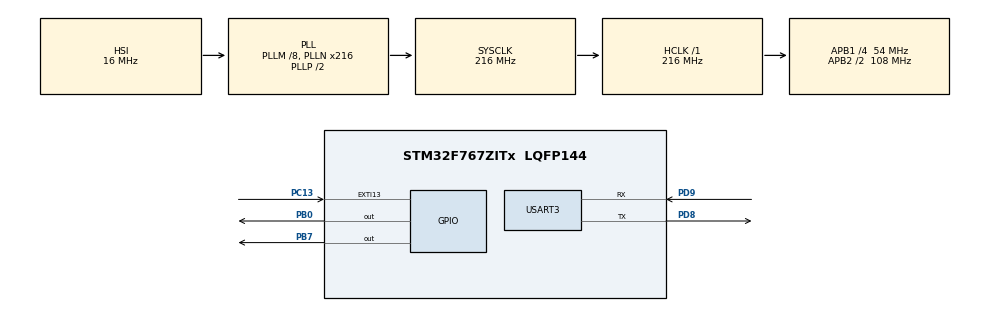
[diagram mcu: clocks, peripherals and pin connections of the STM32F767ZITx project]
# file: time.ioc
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CORTEX_M7.default_mode_Activation=1
Mcu.Family=STM32F7
Mcu.Name=STM32F767ZITx
Mcu.Package=LQFP144
NVIC.EXTI15_10_IRQn=true\:3\:0\:true\:false\:true\:true\:true\:true
NVIC.PriorityGroup=NVIC_PRIORITYGROUP_2
NVIC.TIM1_UP_TIM10_IRQn=true\:1\:0\:true\:false\:true\:true\:true\:true
NVIC.TIM2_IRQn=true\:2\:0\:true\:false\:true\:true\:true\:true
PB0.Signal=GPIO_Output
PB7.Signal=GPIO_Output
PC13.Signal=GPXTI13
PD8.Mode=Asynchronous
PD8.Signal=USART3_TX
PD9.Mode=Asynchronous
PD9.Signal=USART3_RX
ProjectManager.HeapSize=0x200
ProjectManager.StackSize=0x400
ProjectManager.TargetToolchain=STM32CubeIDE
RCC.AHBFreq_Value=216000000
RCC.APB1CLKDivider=RCC_HCLK_DIV4
RCC.APB1Freq_Value=54000000
RCC.APB1TimFreq_Value=108000000
RCC.APB2CLKDivider=RCC_HCLK_DIV2
RCC.APB2Freq_Value=108000000
RCC.APB2TimFreq_Value=216000000
RCC.CortexFreq_Value=216000000
RCC.HCLKFreq_Value=216000000
RCC.HSE_VALUE=25000000
RCC.HSI_VALUE=16000000
RCC.LSE_VALUE=32768
RCC.PLLM=8
RCC.PLLN=216
RCC.SYSCLKFreq_VALUE=216000000
RCC.SYSCLKSource=RCC_SYSCLKSOURCE_PLLCLK
RCC.USBFreq_Value=216000000
RCC.VCOOutputFreq_Value=432000000
TIM1.Period=10000-1
TIM1.Prescaler=21600-1
TIM2.Period=100000-1
TIM2.Prescaler=1080-1
USART3.VirtualMode-Asynchronous=VM_ASYNC
VP_TIM1_VS_ClockSourceINT.Mode=Internal
VP_TIM2_VS_ClockSourceINT.Mode=Internal
board=custom

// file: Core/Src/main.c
/* USER CODE BEGIN Header */
/**
  ******************************************************************************
  * @file           : main.c
  * @brief          : Main program body
  ******************************************************************************
  * @attention
  *
  * Copyright (c) 2025 STMicroelectronics.
  * All rights reserved.
  *
  * This software is licensed under terms that can be found in the LICENSE file
  * in the root directory of this software component.
  * If no LICENSE file comes with this software, it is provided AS-IS.
  *
  ******************************************************************************
  */
/* USER CODE END Header */
#include "main.h"

/* USER CODE BEGIN Includes */
#include "stdbool.h"
#include "stdio.h"
#include "string.h"
/* USER CODE END Includes */

/* USER CODE BEGIN PD */
int count=0;
int d_count =0;
int num = 3001;
bool flag = false;
int btn_bool = 0;
char buffer[20];
int n = 1;
/* USER CODE END PD */

TIM_HandleTypeDef htim1;
TIM_HandleTypeDef htim2;

UART_HandleTypeDef huart3;

void SystemClock_Config(void);
static void MPU_Config(void);
static void MX_GPIO_Init(void);
static void MX_TIM2_Init(void);
static void MX_TIM1_Init(void);
static void MX_USART3_UART_Init(void);

int main(void)
{

  /* MPU Configuration--------------------------------------------------------*/
  MPU_Config();

  /* MCU Configuration--------------------------------------------------------*/

  /* Reset of all peripherals, Initializes the Flash interface and the Systick. */
  HAL_Init();

  /* Configure the system clock */
  SystemClock_Config();

  /* Initialize all configured peripherals */
  MX_GPIO_Init();
  MX_TIM2_Init();
  MX_TIM1_Init();
  MX_USART3_UART_Init();
  /* USER CODE BEGIN 2 */

  HAL_TIM_Base_Start_IT(&htim2);
  HAL_TIM_Base_Start_IT(&htim1);
//  HAL_TIM_PeriodElapsedCallback(&htim2);

  /* USER CODE END 2 */

  /* Infinite loop */
  while (1)
  {

    /* USER CODE BEGIN 3 */
	  if (HAL_GPIO_ReadPin(GPIOC, GPIO_PIN_13) == true){
	  		  btn_bool = true;
	  }

	  if (flag){
		  if (btn_bool == 0) {
			  if (num == 3031){
				  HAL_UART_Transmit(&huart3, (uint8_t *)"STOP\r\n", 6, 100);
				  break;
			  }
			  sprintf(buffer, "%d\r\n", num);
			  HAL_UART_Transmit(&huart3, (uint8_t *)buffer, sizeof(buffer), 100);
			  num += 2;
			  flag = false;
		  } else if (btn_bool == 1){
			  switch (n){
			  	  case 1 :
			  		  HAL_GPIO_WritePin(GPIOB, GPIO_PIN_0, GPIO_PIN_SET);
			  		  n++;
			  		  flag = false;
			  		  break;
			  	  case 2 :
			  		  HAL_GPIO_WritePin(GPIOB, GPIO_PIN_7, GPIO_PIN_SET);
			  		  flag = false;
			  		  n++;
			  		  break;
			  	  case 3 :
			  		HAL_GPIO_WritePin(GPIOB, GPIO_PIN_0, GPIO_PIN_RESET);
			  		HAL_GPIO_WritePin(GPIOB, GPIO_PIN_7, GPIO_PIN_RESET);
			  		btn_bool = 0;
			  		n = 1;
			  		flag = false;
			  		break;
			  }

		  }
	  }

  }
  /* USER CODE END 3 */
}

void SystemClock_Config(void)
{
  RCC_OscInitTypeDef RCC_OscInitStruct = {0};
  RCC_ClkInitTypeDef RCC_ClkInitStruct = {0};

  /** Configure the main internal regulator output voltage
  */
  __HAL_RCC_PWR_CLK_ENABLE();
  __HAL_PWR_VOLTAGESCALING_CONFIG(PWR_REGULATOR_VOLTAGE_SCALE1);

  /** Initializes the RCC Oscillators according to the specified parameters
  * in the RCC_OscInitTypeDef structure.
  */
  RCC_OscInitStruct.OscillatorType = RCC_OSCILLATORTYPE_HSI;
  RCC_OscInitStruct.HSIState = RCC_HSI_ON;
  RCC_OscInitStruct.HSICalibrationValue = RCC_HSICALIBRATION_DEFAULT;
  RCC_OscInitStruct.PLL.PLLState = RCC_PLL_ON;
  RCC_OscInitStruct.PLL.PLLSource = RCC_PLLSOURCE_HSI;
  RCC_OscInitStruct.PLL.PLLM = 8;
  RCC_OscInitStruct.PLL.PLLN = 216;
  RCC_OscInitStruct.PLL.PLLP = RCC_PLLP_DIV2;
  RCC_OscInitStruct.PLL.PLLQ = 2;
  RCC_OscInitStruct.PLL.PLLR = 2;
  if (HAL_RCC_OscConfig(&RCC_OscInitStruct) != HAL_OK)
  {
    Error_Handler();
  }

  /** Activate the Over-Drive mode
  */
  if (HAL_PWREx_EnableOverDrive() != HAL_OK)
  {
    Error_Handler();
  }

  /** Initializes the CPU, AHB and APB buses clocks
  */
  RCC_ClkInitStruct.ClockType = RCC_CLOCKTYPE_HCLK|RCC_CLOCKTYPE_SYSCLK
                              |RCC_CLOCKTYPE_PCLK1|RCC_CLOCKTYPE_PCLK2;
  RCC_ClkInitStruct.SYSCLKSource = RCC_SYSCLKSOURCE_PLLCLK;
  RCC_ClkInitStruct.AHBCLKDivider = RCC_SYSCLK_DIV1;
  RCC_ClkInitStruct.APB1CLKDivider = RCC_HCLK_DIV4;
  RCC_ClkInitStruct.APB2CLKDivider = RCC_HCLK_DIV2;

  if (HAL_RCC_ClockConfig(&RCC_ClkInitStruct, FLASH_LATENCY_7) != HAL_OK)
  {
    Error_Handler();
  }
}

static void MX_TIM1_Init(void)
{

  TIM_ClockConfigTypeDef sClockSourceConfig = {0};
  TIM_MasterConfigTypeDef sMasterConfig = {0};

  htim1.Instance = TIM1;
  htim1.Init.Prescaler = 21600-1;
  htim1.Init.CounterMode = TIM_COUNTERMODE_UP;
  htim1.Init.Period = 10000-1;
  htim1.Init.ClockDivision = TIM_CLOCKDIVISION_DIV1;
  htim1.Init.RepetitionCounter = 0;
  htim1.Init.AutoReloadPreload = TIM_AUTORELOAD_PRELOAD_DISABLE;
  if (HAL_TIM_Base_Init(&htim1) != HAL_OK)
  {
    Error_Handler();
  }
  sClockSourceConfig.ClockSource = TIM_CLOCKSOURCE_INTERNAL;
  if (HAL_TIM_ConfigClockSource(&htim1, &sClockSourceConfig) != HAL_OK)
  {
    Error_Handler();
  }
  sMasterConfig.MasterOutputTrigger = TIM_TRGO_RESET;
  sMasterConfig.MasterOutputTrigger2 = TIM_TRGO2_RESET;
  sMasterConfig.MasterSlaveMode = TIM_MASTERSLAVEMODE_DISABLE;
  if (HAL_TIMEx_MasterConfigSynchronization(&htim1, &sMasterConfig) != HAL_OK)
  {
    Error_Handler();
  }

}

static void MX_TIM2_Init(void)
{

  TIM_ClockConfigTypeDef sClockSourceConfig = {0};
  TIM_MasterConfigTypeDef sMasterConfig = {0};

  htim2.Instance = TIM2;
  htim2.Init.Prescaler = 1080-1;
  htim2.Init.CounterMode = TIM_COUNTERMODE_UP;
  htim2.Init.Period = 100000-1;
  htim2.Init.ClockDivision = TIM_CLOCKDIVISION_DIV1;
  htim2.Init.AutoReloadPreload = TIM_AUTORELOAD_PRELOAD_DISABLE;
  if (HAL_TIM_Base_Init(&htim2) != HAL_OK)
  {
    Error_Handler();
  }
  sClockSourceConfig.ClockSource = TIM_CLOCKSOURCE_INTERNAL;
  if (HAL_TIM_ConfigClockSource(&htim2, &sClockSourceConfig) != HAL_OK)
  {
    Error_Handler();
  }
  sMasterConfig.MasterOutputTrigger = TIM_TRGO_RESET;
  sMasterConfig.MasterSlaveMode = TIM_MASTERSLAVEMODE_DISABLE;
  if (HAL_TIMEx_MasterConfigSynchronization(&htim2, &sMasterConfig) != HAL_OK)
  {
    Error_Handler();
  }

}

static void MX_USART3_UART_Init(void)
{

  huart3.Instance = USART3;
  huart3.Init.BaudRate = 115200;
  huart3.Init.WordLength = UART_WORDLENGTH_8B;
  huart3.Init.StopBits = UART_STOPBITS_1;
  huart3.Init.Parity = UART_PARITY_NONE;
  huart3.Init.Mode = UART_MODE_TX_RX;
  huart3.Init.HwFlowCtl = UART_HWCONTROL_NONE;
  huart3.Init.OverSampling = UART_OVERSAMPLING_16;
  huart3.Init.OneBitSampling = UART_ONE_BIT_SAMPLE_DISABLE;
  huart3.AdvancedInit.AdvFeatureInit = UART_ADVFEATURE_NO_INIT;
  if (HAL_UART_Init(&huart3) != HAL_OK)
  {
    Error_Handler();
  }

}

static void MX_GPIO_Init(void)
{
  GPIO_InitTypeDef GPIO_InitStruct = {0};

  /* GPIO Ports Clock Enable */
  __HAL_RCC_GPIOC_CLK_ENABLE();
  __HAL_RCC_GPIOB_CLK_ENABLE();
  __HAL_RCC_GPIOD_CLK_ENABLE();

  /*Configure GPIO pin Output Level */
  HAL_GPIO_WritePin(GPIOB, GPIO_PIN_0|GPIO_PIN_7, GPIO_PIN_RESET);

  /*Configure GPIO pin : PC13 */
  GPIO_InitStruct.Pin = GPIO_PIN_13;
  GPIO_InitStruct.Mode = GPIO_MODE_IT_RISING;
  GPIO_InitStruct.Pull = GPIO_NOPULL;
  HAL_GPIO_Init(GPIOC, &GPIO_InitStruct);

  /*Configure GPIO pins : PB0 PB7 */
  GPIO_InitStruct.Pin = GPIO_PIN_0|GPIO_PIN_7;
  GPIO_InitStruct.Mode = GPIO_MODE_OUTPUT_PP;
  GPIO_InitStruct.Pull = GPIO_NOPULL;
  GPIO_InitStruct.Speed = GPIO_SPEED_FREQ_LOW;
  HAL_GPIO_Init(GPIOB, &GPIO_InitStruct);

  /* EXTI interrupt init*/
  HAL_NVIC_SetPriority(EXTI15_10_IRQn, 3, 0);
  HAL_NVIC_EnableIRQ(EXTI15_10_IRQn);

}

/* USER CODE BEGIN 4 */
void HAL_TIM_PeriodElapsedCallback(TIM_HandleTypeDef *htim) {
    if (htim->Instance == TIM1) {
//        HAL_GPIO_TogglePin(GPIOB, GPIO_PIN_0);
        flag = true;
    }
}

/* USER CODE END 4 */

 /* MPU Configuration */

void MPU_Config(void)
{
  MPU_Region_InitTypeDef MPU_InitStruct = {0};

  /* Disables the MPU */
  HAL_MPU_Disable();

  /** Initializes and configures the Region and the memory to be protected
  */
  MPU_InitStruct.Enable = MPU_REGION_ENABLE;
  MPU_InitStruct.Number = MPU_REGION_NUMBER0;
  MPU_InitStruct.BaseAddress = 0x0;
  MPU_InitStruct.Size = MPU_REGION_SIZE_4GB;
  MPU_InitStruct.SubRegionDisable = 0x87;
  MPU_InitStruct.TypeExtField = MPU_TEX_LEVEL0;
  MPU_InitStruct.AccessPermission = MPU_REGION_NO_ACCESS;
  MPU_InitStruct.DisableExec = MPU_INSTRUCTION_ACCESS_DISABLE;
  MPU_InitStruct.IsShareable = MPU_ACCESS_SHAREABLE;
  MPU_InitStruct.IsCacheable = MPU_ACCESS_NOT_CACHEABLE;
  MPU_InitStruct.IsBufferable = MPU_ACCESS_NOT_BUFFERABLE;

  HAL_MPU_ConfigRegion(&MPU_InitStruct);
  /* Enables the MPU */
  HAL_MPU_Enable(MPU_PRIVILEGED_DEFAULT);

}

void Error_Handler(void)
{
  __disable_irq();
  while (1)
  {
  }
}
